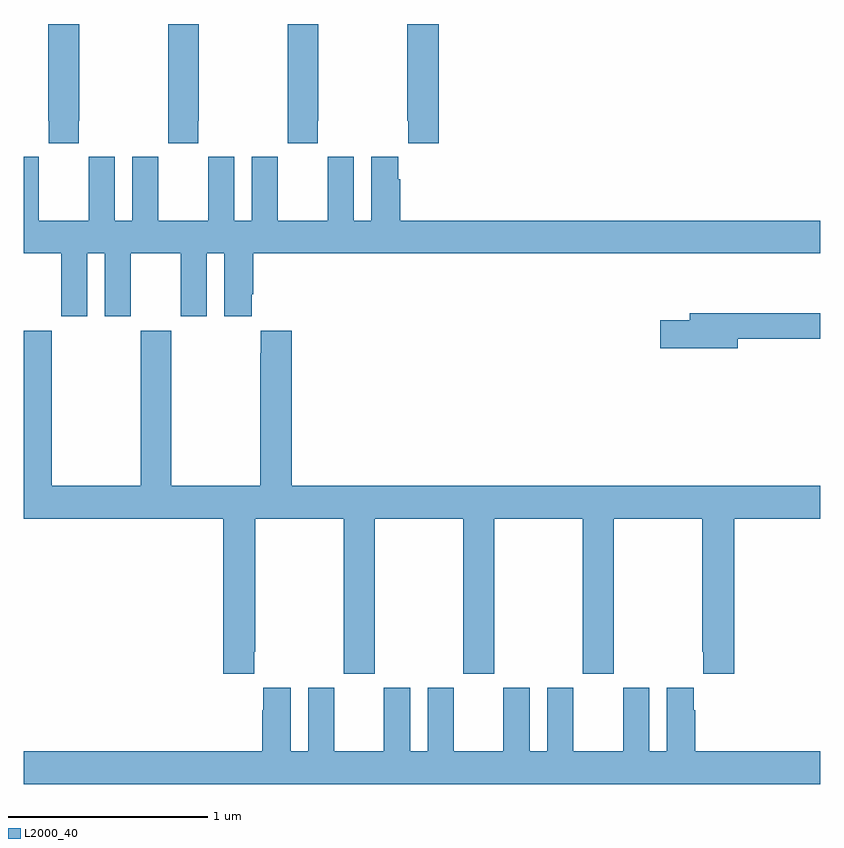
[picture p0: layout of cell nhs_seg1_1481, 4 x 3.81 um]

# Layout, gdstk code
import gdstk
lib = gdstk.Library(unit=1e-6, precision=1e-09)
def P(c, l, *ps):  # polygons
    for p in ps: c.add(gdstk.Polygon(p, *l))
L2000_40 = (2000, 40)

nhs_seg1_1481 = lib.new_cell('nhs_seg1_1481')
P(nhs_seg1_1481, L2000_40, [(191.125,569.713),(191.127,569.713),(191.127,569.601),(191.277,569.601),(191.277,569.713),(191.28,569.713),(191.28,570.199),(191.125,570.199)],
  [(193.085,570.199),(192.925,570.199),(192.925,569.713),(192.931,569.713),(192.931,569.601),(193.085,569.601)],
  [(192.477,569.713),(192.48,569.713),(192.48,570.199),(192.325,570.199),(192.325,569.713),(192.327,569.713),(192.327,569.601),(192.477,569.601)],
  [(191.877,569.713),(191.88,569.713),(191.88,570.199),(191.725,570.199),(191.725,569.713),(191.727,569.713),(191.727,569.601),(191.877,569.601)],
  [(191.458,569.533),(191.328,569.533),(191.328,569.42),(191.327,569.42),(191.327,569.212),(191.077,569.212),(191.077,569.42),(191.076,569.42),(191.076,569.533),(191,569.533),(191,569.048),(191.189,569.048),(191.189,568.731),(191.32,568.731),(191.32,569.048),(191.408,569.048),(191.408,568.731),(191.539,568.731),(191.539,569.048),(191.789,569.048),(191.789,568.731),(191.92,568.731),(191.92,569.048),(192.008,569.048),(192.008,568.731),(192.145,568.731),(192.145,568.843),(192.152,568.843),(192.152,569.048),(195,569.048),(195,569.212),(192.89,569.212),(192.89,569.42),(192.88,569.42),(192.88,569.533),(192.746,569.533),(192.746,569.212),(192.658,569.212),(192.658,569.533),(192.528,569.533),(192.528,569.42),(192.527,569.42),(192.527,569.212),(192.277,569.212),(192.277,569.42),(192.276,569.42),(192.276,569.533),(192.146,569.533),(192.146,569.212),(192.058,569.212),(192.058,569.533),(191.928,569.533),(191.928,569.42),(191.927,569.42),(191.927,569.212),(191.677,569.212),(191.677,569.42),(191.676,569.42),(191.676,569.533),(191.546,569.533),(191.546,569.212),(191.458,569.212)],
  [(194.584,568.618),(195,568.618),(195,568.747),(194.345,568.747),(194.345,568.713),(194.196,568.713),(194.196,568.571),(194.584,568.571)],
  [(192.157,567.049),(192.162,567.049),(192.162,567.716),(192.607,567.716),(192.607,566.937),(192.762,566.937),(192.762,567.716),(193.207,567.716),(193.207,566.937),(193.362,566.937),(193.362,567.716),(193.807,567.716),(193.807,566.937),(193.962,566.937),(193.962,567.716),(194.407,567.716),(194.407,567.049),(194.411,567.049),(194.411,566.937),(194.567,566.937),(194.567,567.716),(195,567.716),(195,567.88),(192.347,567.88),(192.347,568.66),(192.191,568.66),(192.191,568.547),(192.187,568.547),(192.187,567.88),(191.742,567.88),(191.742,568.66),(191.587,568.66),(191.587,567.88),(191.142,567.88),(191.142,568.66),(191,568.66),(191,567.716),(192.002,567.716),(192.002,566.937),(192.157,566.937)],
  [(195,566.548),(194.372,566.548),(194.372,566.753),(194.365,566.753),(194.365,566.866),(194.228,566.866),(194.228,566.548),(194.14,566.548),(194.14,566.866),(194.009,566.866),(194.009,566.548),(193.759,566.548),(193.759,566.866),(193.628,566.866),(193.628,566.548),(193.54,566.548),(193.54,566.866),(193.409,566.866),(193.409,566.548),(193.159,566.548),(193.159,566.866),(193.028,566.866),(193.028,566.548),(192.94,566.548),(192.94,566.866),(192.809,566.866),(192.809,566.548),(192.559,566.548),(192.559,566.866),(192.428,566.866),(192.428,566.548),(192.34,566.548),(192.34,566.866),(192.203,566.866),(192.203,566.753),(192.197,566.753),(192.197,566.548),(191,566.548),(191,566.384),(195,566.384)])

lib.write_gds('nhs_seg1_1481.gds')
